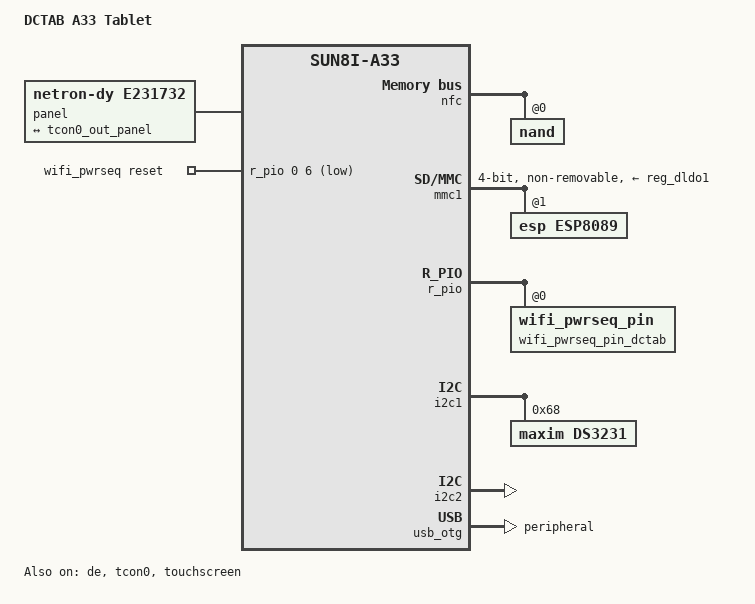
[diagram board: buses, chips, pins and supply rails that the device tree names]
/dts-v1/;

#include "sun8i-a33.dtsi"
#include "sun8i-reference-design-tablet.dtsi"

/ {
	model = "DCTAB A33 Tablet";
	compatible = "allwinner,dctab-a33", "allwinner,sun8i-a33";

	panel {
		compatible = "netron-dy,e231732";
		#address-cells = <1>;
		#size-cells = <0>;

		port@0 {
			reg = <0>;
			#address-cells = <1>;
			#size-cells = <0>;

			panel_input: endpoint@0 {
				reg = <0>;
				remote-endpoint = <&tcon0_out_panel>;
			};
		};
	};

	wifi_pwrseq: wifi_pwrseq {
		compatible = "mmc-pwrseq-simple";
		pinctrl-names = "default";
		pinctrl-0 = <&wifi_pwrseq_pin_dctab>;
		reset-gpios = <&r_pio 0 6 GPIO_ACTIVE_LOW>; /* PL6 */
		/* The esp8089 needs 200 ms after driving wifi-en high */
		post-power-on-delay-ms = <200>;
	};

};

&nfc {
/*	status = "okay";*/

	nand@0 {
		reg = <0>;
		allwinner,rb = <0>;

		nand-ecc-mode = "hw";
	};
};

&mali {
	compatible = "allwinner,sun8i-a23-mali", "allwinner,sun7i-a20-mali", "arm,mali-400", "arm,mali-utgard";
};

&de {
	status = "okay";
};

&tcon0 {
	pinctrl-names = "default";
	pinctrl-0 = <&lcd_rgb666_pins>;
	status = "okay";
};

&tcon0_out {
	tcon0_out_panel: endpoint@0 {
		reg = <0>;
		remote-endpoint = <&panel_input>;
	};
};

&rtc {
	status = "disabled";
};

&mmc1 {
	pinctrl-names = "default";
	pinctrl-0 = <&mmc1_pins_a>;
	vmmc-supply = <&reg_dldo1>;
	mmc-pwrseq = <&wifi_pwrseq>;
	bus-width = <4>;
	non-removable;
	status = "okay";

	esp8089: sdio_wifi@1 {
		compatible = "esp,esp8089";
		reg = <1>;
		esp,crystal-26M-en = <2>;
	};
};

&r_pio {
	wifi_pwrseq_pin_dctab: wifi_pwrseq_pin@0 {
		pins = "PL6";
		function = "gpio_out";
	};
};

&touchscreen {
	compatible = "silead,gsl1680";
	reg = <0x40>;
	firmware-name = "gslX680new-m86hd.fw";
	touchscreen-size-x = <960>;
	touchscreen-size-y = <640>;
	touchscreen-inverted-x;
	touchscreen-inverted-y;
	vddio-supply = <&reg_ldo_io1>;
	status = "okay";
};

&i2c1 {
	ds3231: ds3231@68 {
		compatible = "maxim,ds3231";
		reg = <0x68>;
	};
};

&i2c2 {
	pinctrl-names = "default";
	pinctrl-0 = <&i2c2_pins_a>;
	status = "okay";
};

&usb_otg {
	dr_mode = "peripheral";
};

